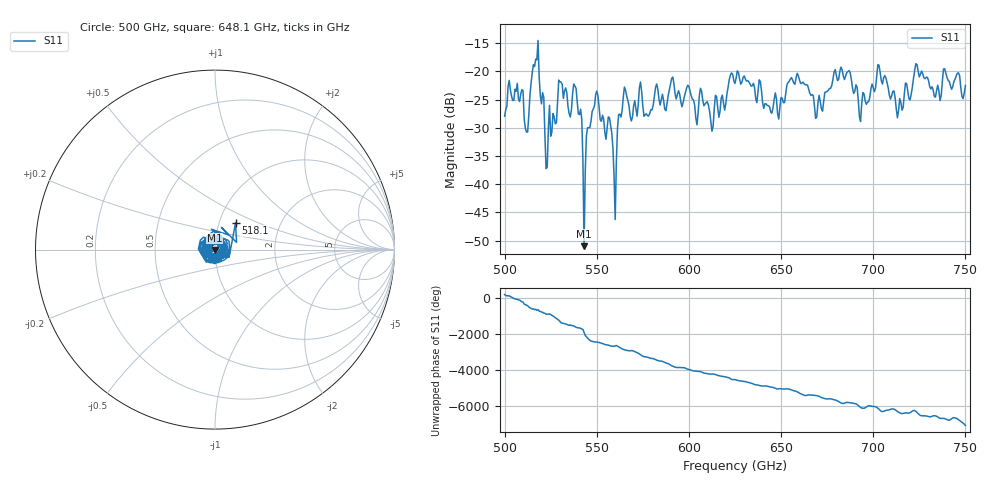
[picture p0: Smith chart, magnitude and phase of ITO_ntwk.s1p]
!Created with skrf (http://scikit-rf.org).
# GHz S RI R 50.0
!freq ReS11 ImS11
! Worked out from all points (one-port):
!   401 points, 500 GHz to 750 GHz, reference 50 ohm
!   lowest |S11| = -51.0 dB at 543.1 GHz (marker M1), VSWR 1.01, Z = 49.8 - j0.186 ohm
!   |S11| at or under -10 dB: start of sweep to end of sweep
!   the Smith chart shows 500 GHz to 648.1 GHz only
!   S11 on the Smith chart (normalised r, x): 500 GHz: 0.92, +0.01; 518.1 GHz: 1.20, +0.37; 648.1 GHz: 1.08, -0.04
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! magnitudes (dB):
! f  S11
! 500 GHz  -27.9
! 508.1 GHz  -25.3
! 511.9 GHz  -30.7
! 515.6 GHz  -18.8
! 518.1 GHz  -14.5
! 523.1 GHz  -37.0
! 531.2 GHz  -22.3
! 538.8 GHz  -23.0
! 543.1 GHz  -51.0
! 549.4 GHz  -24.2
! 557.5 GHz  -29.6
! 559.4 GHz  -38.5
! 562.5 GHz  -27.6
! 565.6 GHz  -23.3
! 576.9 GHz  -27.5
! 593.8 GHz  -24.1
! 612.5 GHz  -30.6
! 625 GHz  -22.1
! 648.1 GHz  -27.6
! 656.2 GHz  -21.5
! 668.8 GHz  -28.3
! 687.5 GHz  -20.2
! 693.1 GHz  -28.9
! 703.1 GHz  -18.9
! 713.8 GHz  -26.9
! 718.8 GHz  -23.5
! 723.8 GHz  -18.8
! 750 GHz  -22.5
